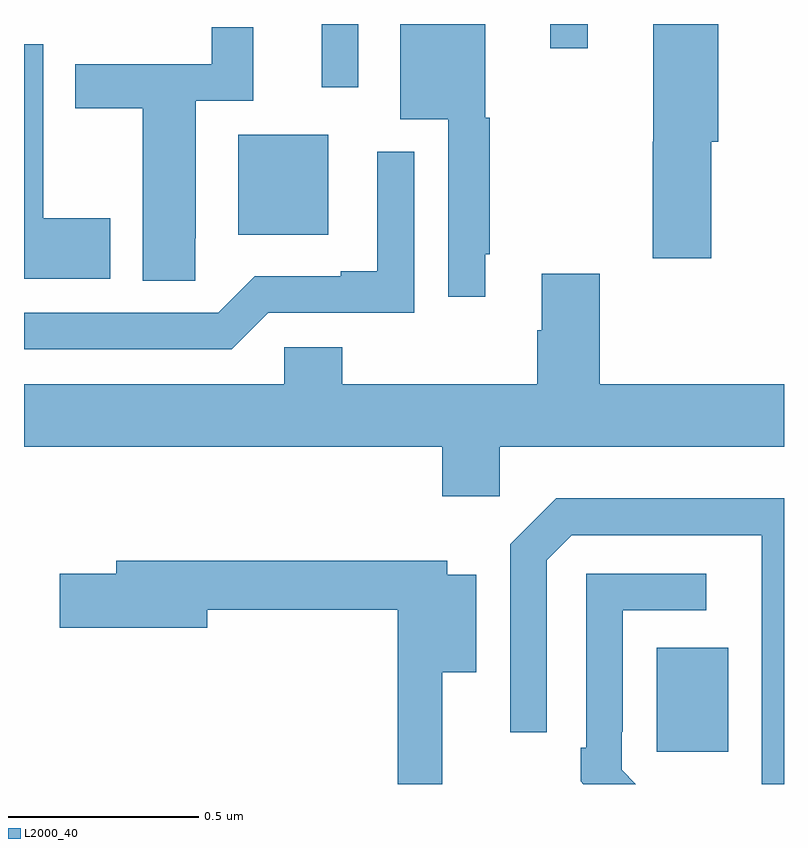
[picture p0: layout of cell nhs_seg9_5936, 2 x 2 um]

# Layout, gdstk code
import gdstk
lib = gdstk.Library(unit=1e-6, precision=1e-09)
def R(c, l, rs):  # rectangles x0, y0, x1, y1
    for r in rs: c.add(gdstk.rectangle(r[:2], r[2:], *l))
def P(c, l, *ps):  # polygons
    for p in ps: c.add(gdstk.Polygon(p, *l))
L2000_40 = (2000, 40)

nhs_seg9_5936 = lib.new_cell('nhs_seg9_5936')
R(nhs_seg9_5936, L2000_40, [(186.665,1227.585,186.853,1227.859), (185.564,1228.946,185.8,1229.209), (185.783,1229.334,185.88,1229.5), (186.385,1229.436,186.484,1229.5)])
P(nhs_seg9_5936, L2000_40, [(186.214,1228.894),(186.226,1228.894),(186.226,1229.253),(186.214,1229.253),(186.214,1229.5),(185.99,1229.5),(185.99,1229.249),(186.117,1229.249),(186.117,1228.782),(186.214,1228.782)],
  [(186.809,1229.19),(186.827,1229.19),(186.827,1229.5),(186.656,1229.5),(186.656,1229.19),(186.655,1229.19),(186.655,1228.884),(186.809,1228.884)],
  [(185.451,1228.936),(185.452,1228.936),(185.452,1229.298),(185.603,1229.298),(185.603,1229.491),(185.494,1229.491),(185.494,1229.394),(185.135,1229.394),(185.135,1229.278),(185.312,1229.278),(185.312,1228.825),(185.451,1228.825)],
  [(185.227,1228.989),(185.05,1228.989),(185.05,1229.447),(185,1229.447),(185,1228.829),(185.227,1228.829)],
  [(185.643,1228.74),(186.027,1228.74),(186.027,1229.164),(185.93,1229.164),(185.93,1228.849),(185.834,1228.849),(185.834,1228.836),(185.607,1228.836),(185.511,1228.74),(185,1228.74),(185,1228.644),(185.547,1228.644)],
  [(185.837,1228.65),(185.685,1228.65),(185.685,1228.552),(185,1228.552),(185,1228.388),(186.101,1228.388),(186.101,1228.257),(186.252,1228.257),(186.252,1228.388),(187,1228.388),(187,1228.552),(186.515,1228.552),(186.515,1228.843),(186.362,1228.843),(186.362,1228.694),(186.35,1228.694),(186.35,1228.552),(185.837,1228.552)],
  [(187,1228.252),(186.4,1228.252),(186.279,1228.131),(186.279,1227.636),(186.375,1227.636),(186.375,1228.089),(186.441,1228.155),(186.941,1228.155),(186.941,1227.955),(186.942,1227.955),(186.942,1227.5),(187,1227.5)],
  [(186.101,1227.794),(186.19,1227.794),(186.19,1228.051),(186.114,1228.051),(186.114,1228.087),(185.243,1228.087),(185.243,1228.053),(185.094,1228.053),(185.094,1227.911),(185.482,1227.911),(185.482,1227.958),(185.983,1227.958),(185.983,1227.5),(186.101,1227.5)],
  [(186.573,1227.537),(186.573,1227.637),(186.576,1227.637),(186.576,1227.957),(186.796,1227.957),(186.796,1228.053),(186.48,1228.053),(186.48,1227.595),(186.465,1227.595),(186.465,1227.507),(186.472,1227.5),(186.61,1227.5)])

lib.write_gds('nhs_seg9_5936.gds')
